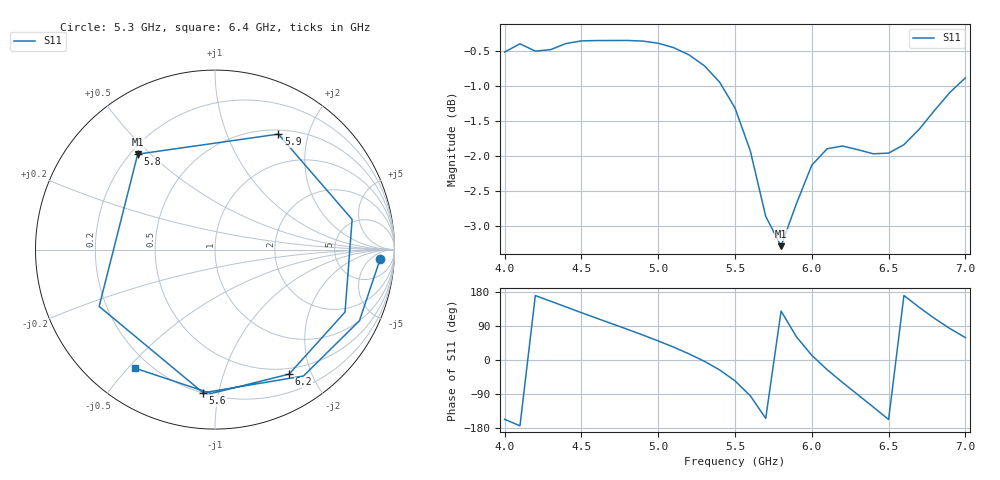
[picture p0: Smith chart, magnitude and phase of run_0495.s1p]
! Touchstone file exported from HFSS 2024.2.0
!  File:  C:/Users/wsak9/Desktop/Sim Fast/Widenad Patch/WP_AI_V1_sweep.aedt
!  Generated:  12:49:19 PM Oct 14, 2026
!  Design:  A1_model
!  Project:  WP_AI_V1_sweep
!  Setup:  Setup1
!  Solution:  Sweep
! Variables:
!  Air_gap = 3.72mm
!  Curve_Amp1 = 1.95
!  Curve_len1 = 1
!  Curve_pos = 10.455mm
!  Extra = 5.72mm
!  H_sub = 0.79mm
!  L_Patch = 16.91mm
!  L_Patch1 = 20.19mm
!  Sx = 1.54mm
!  Sy = 0.26mm
!  WS = 1.08mm
!  W_Patch = 19.1mm
!  W_Patch1 = 14.47mm
!Data is not renormalized
# GHz S MA
! Terminal data exported
! Port[1] = 1
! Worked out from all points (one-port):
!   31 points, 4 GHz to 7 GHz, reference per port
!   lowest |S11| = -3.3 dB at 5.8 GHz (marker M1), VSWR 5.34
!   |S11| at or under -10 dB: nowhere
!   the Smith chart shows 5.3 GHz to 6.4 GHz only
!   S11 on the Smith chart (normalised r, x): 5.3 GHz: 16, -12; 5.6 GHz: 0.20, -0.90; 5.8 GHz: 0.23, +0.46; 5.9 GHz: 0.55, +1.55; 6.2 GHz: 0.42, -1.68; 6.4 GHz: 0.14, -0.52
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4  0.9427 -156.5
4.1  0.9556 -173.7
4.2  0.9442 170.0
4.4  0.9561 140.0
4.6  0.9608 110.1
4.8  0.9609 80.9
4.9  0.9599 65.9
5  0.9565 50.4
5.1  0.9496 34.0
5.2  0.9384 16.3
5.3  0.9217 -3.3
5.4  0.897 -26.2
5.5  0.8596 -55.0
5.6  0.8007 -94.7
5.7  0.7188 -153.9
5.8  0.6843 129.0
5.9  0.7341 61.2
6  0.7822 12.4
6.1  0.8037 -25.7
6.2  0.8073 -59.2
6.3  0.8024 -91.6
6.4  0.797 -124.1
6.5  0.7979 -157.1
6.6  0.8091 170.2
6.7  0.8301 138.7
6.8  0.8563 109.5
6.9  0.8822 82.9
7  0.9034 59.0
